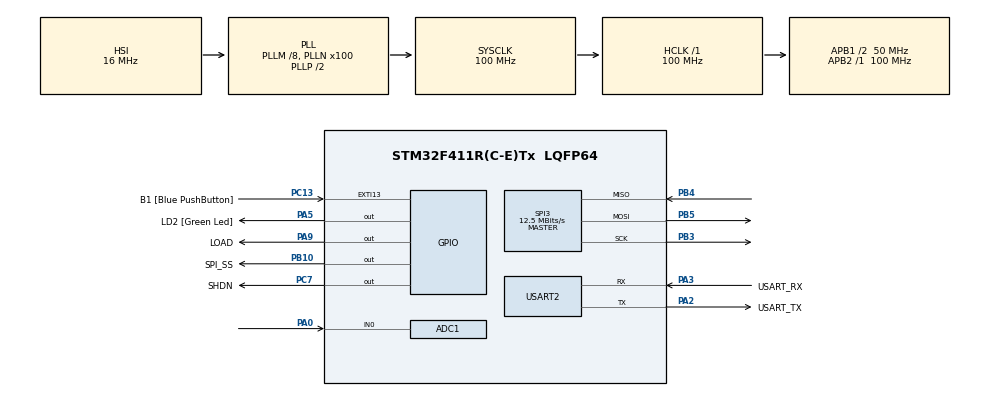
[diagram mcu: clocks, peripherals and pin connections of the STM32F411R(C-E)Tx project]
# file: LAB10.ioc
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ADC1.Channel-0\#ChannelRegularConversion=ADC_CHANNEL_0
ADC1.DMAContinuousRequests=ENABLE
ADC1.ExternalTrigConv=ADC_EXTERNALTRIGCONV_T3_TRGO
ADC1.NbrOfConversionFlag=1
ADC1.Rank-0\#ChannelRegularConversion=1
ADC1.SamplingTime-0\#ChannelRegularConversion=ADC_SAMPLETIME_3CYCLES
ADC1.ScanConvMode=ENABLE
ADC1.master=1
Dma.ADC1.0.Direction=DMA_PERIPH_TO_MEMORY
Dma.ADC1.0.FIFOMode=DMA_FIFOMODE_DISABLE
Dma.ADC1.0.Instance=DMA2_Stream0
Dma.ADC1.0.MemDataAlignment=DMA_MDATAALIGN_HALFWORD
Dma.ADC1.0.MemInc=DMA_MINC_ENABLE
Dma.ADC1.0.Mode=DMA_CIRCULAR
Dma.ADC1.0.PeriphDataAlignment=DMA_PDATAALIGN_HALFWORD
Dma.ADC1.0.PeriphInc=DMA_PINC_DISABLE
Dma.ADC1.0.Priority=DMA_PRIORITY_LOW
Dma.Request0=ADC1
Mcu.Family=STM32F4
Mcu.Name=STM32F411R(C-E)Tx
Mcu.Package=LQFP64
NVIC.ADC_IRQn=true\:0\:0\:false\:false\:true\:true\:true
NVIC.DMA2_Stream0_IRQn=true\:0\:0\:false\:false\:true\:false\:true
NVIC.PriorityGroup=NVIC_PRIORITYGROUP_0
NVIC.SPI3_IRQn=true\:0\:0\:false\:false\:true\:true\:true
NVIC.TIM1_TRG_COM_TIM11_IRQn=true\:0\:0\:false\:false\:true\:true\:true
NVIC.USART2_IRQn=true\:0\:0\:false\:false\:true\:true\:true
PA0-WKUP.Signal=ADCx_IN0
PA13.GPIO_Label=TMS
PA13.Mode=Serial_Wire
PA13.Signal=SYS_JTMS-SWDIO
PA14.GPIO_Label=TCK
PA14.Mode=Serial_Wire
PA14.Signal=SYS_JTCK-SWCLK
PA2.GPIO_Label=USART_TX
PA2.Mode=Asynchronous
PA2.Signal=USART2_TX
PA3.GPIO_Label=USART_RX
PA3.Mode=Asynchronous
PA3.Signal=USART2_RX
PA5.GPIO_Label=LD2 [Green Led]
PA5.Signal=GPIO_Output
PA9.GPIO_Label=LOAD
PA9.PinState=GPIO_PIN_SET
PA9.Signal=GPIO_Output
PB10.GPIO_Label=SPI_SS
PB10.PinState=GPIO_PIN_SET
PB10.Signal=GPIO_Output
PB3.Mode=Full_Duplex_Master
PB3.Signal=SPI3_SCK
PB4.Mode=Full_Duplex_Master
PB4.Signal=SPI3_MISO
PB5.Mode=Full_Duplex_Master
PB5.Signal=SPI3_MOSI
PC13-ANTI_TAMP.GPIO_Label=B1 [Blue PushButton]
PC13-ANTI_TAMP.GPIO_ModeDefaultEXTI=GPIO_MODE_IT_FALLING
PC13-ANTI_TAMP.Signal=GPXTI13
PC14-OSC32_IN.Mode=LSE-External-Oscillator
PC14-OSC32_IN.Signal=RCC_OSC32_IN
PC15-OSC32_OUT.Mode=LSE-External-Oscillator
PC15-OSC32_OUT.Signal=RCC_OSC32_OUT
PC7.GPIO_Label=SHDN
PC7.PinState=GPIO_PIN_SET
PC7.Signal=GPIO_Output
PH0\ -\ OSC_IN.Mode=HSE-External-Clock-Source
PH0\ -\ OSC_IN.Signal=RCC_OSC_IN
PH1\ -\ OSC_OUT.Mode=HSE-External-Clock-Source
PH1\ -\ OSC_OUT.Signal=RCC_OSC_OUT
ProjectManager.HeapSize=0x200
ProjectManager.StackSize=0x400
ProjectManager.TargetToolchain=STM32CubeIDE
RCC.48MHZClocksFreq_Value=50000000
RCC.AHBFreq_Value=100000000
RCC.APB1CLKDivider=RCC_HCLK_DIV2
RCC.APB1Freq_Value=50000000
RCC.APB1TimFreq_Value=100000000
RCC.APB2Freq_Value=100000000
RCC.APB2TimFreq_Value=100000000
RCC.CortexFreq_Value=100000000
RCC.FLatency-AdvancedSettings=FLASH_LATENCY_3
RCC.HCLKFreq_Value=100000000
RCC.HSE_VALUE=8000000
RCC.HSI_VALUE=16000000
RCC.PLLM=8
RCC.PLLN=100
RCC.SYSCLKFreq_VALUE=100000000
RCC.SYSCLKSource=RCC_SYSCLKSOURCE_PLLCLK
RCC.VCOOutputFreq_Value=200000000
SH.ADCx_IN0.0=ADC1_IN0,IN0
SPI3.BaudRatePrescaler=SPI_BAUDRATEPRESCALER_4
SPI3.CalculateBaudRate=12.5 MBits/s
SPI3.DataSize=SPI_DATASIZE_16BIT
SPI3.Direction=SPI_DIRECTION_2LINES
SPI3.Mode=SPI_MODE_MASTER
SPI3.VirtualType=VM_MASTER
TIM11.Prescaler=99
TIM3.Period=100
TIM3.Prescaler=99
TIM3.TIM_MasterOutputTrigger=TIM_TRGO_UPDATE
USART2.VirtualMode=VM_ASYNC
VP_TIM11_VS_ClockSourceINT.Mode=Enable_Timer
VP_TIM3_VS_ClockSourceINT.Mode=Internal
board=NUCLEO-F411RE

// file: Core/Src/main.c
/* USER CODE BEGIN Header */
/**
 ******************************************************************************
 * @file           : main.c
 * @brief          : Main program body
 ******************************************************************************
 * @attention
 *
 * <h2><center>&copy; Copyright (c) 2021 STMicroelectronics.
 * All rights reserved.</center></h2>
 *
 * This software component is licensed by ST under BSD 3-Clause license,
 * the "License"; You may not use this file except in compliance with the
 * License. You may obtain a copy of the License at:
 *                        opensource.org/licenses/BSD-3-Clause
 *
 ******************************************************************************
 */
/* USER CODE END Header */
#include "main.h"

/* USER CODE BEGIN Includes */
#include <stdio.h>
#include <string.h>
#include <math.h>
/* USER CODE END Includes */

ADC_HandleTypeDef hadc1;
DMA_HandleTypeDef hdma_adc1;

SPI_HandleTypeDef hspi3;

TIM_HandleTypeDef htim3;
TIM_HandleTypeDef htim11;

UART_HandleTypeDef huart2;

/* USER CODE BEGIN PV */
char TxDataBuffer[64] = { 0 };
char RxDataBuffer[64] = { 0 };

// State flow
uint16_t StateDisplay = 0;

uint16_t ADCin = 0;
uint64_t _micro = 0;
float dataOut = 0;
uint8_t DACConfig = 0b0011;

float Frequency = 1;
// sawtooth
float SawtoothHigh = 4096; // 2^12 max3.3
float SawtoothLow = 0; // offset
uint16_t Slope=0;

// Time in Second
float Second = 0;

// sine
float Sindata = 1;
float Offset = 2048;
float SineHigh = 4096;
float Sinelow = 0;

// square
float Square = 0;
uint16_t DutyCycle = 50;
float TimeOn = 0;
float SquareHigh = 4095;
float SquareLow = 0;

enum STATEDISPLAY{
	StateStart = 0,
	StateChoosewaveform = 1,
	StateSawtooth = 2,
	StateSine = 3,
	StateSquare = 4,
	StateContolSawtooth = 5,
	StateControlSine = 6,
	StateControlSquare = 7,
};
/* USER CODE END PV */

void SystemClock_Config(void);
static void MX_GPIO_Init(void);
static void MX_DMA_Init(void);
static void MX_USART2_UART_Init(void);
static void MX_ADC1_Init(void);
static void MX_SPI3_Init(void);
static void MX_TIM3_Init(void);
static void MX_TIM11_Init(void);
/* USER CODE BEGIN PFP */

void MCP4922SetOutput(uint8_t Config, uint16_t DACOutput);
uint64_t micros();
int16_t UARTRecieveIT();
/* USER CODE END PFP */

int main(void)
{

  /* MCU Configuration--------------------------------------------------------*/

  /* Reset of all peripherals, Initializes the Flash interface and the Systick. */
  HAL_Init();

  /* Configure the system clock */
  SystemClock_Config();

  /* Initialize all configured peripherals */
  MX_GPIO_Init();
  MX_DMA_Init();
  MX_USART2_UART_Init();
  MX_ADC1_Init();
  MX_SPI3_Init();
  MX_TIM3_Init();
  MX_TIM11_Init();
  /* USER CODE BEGIN 2 */
	HAL_TIM_Base_Start(&htim3);
	HAL_TIM_Base_Start_IT(&htim11);
	HAL_ADC_Start_DMA(&hadc1, (uint32_t*) &ADCin, 1);

	HAL_GPIO_WritePin(LOAD_GPIO_Port, LOAD_Pin, GPIO_PIN_RESET);
  /* USER CODE END 2 */

  /* Infinite loop */
  /* USER CODE BEGIN WHILE */
	while (1)
	{

		HAL_UART_Receive_IT(&huart2,  (uint8_t*)RxDataBuffer, 64);
		int16_t inputchar = UARTRecieveIT();
		if(inputchar!=-1)
		{
			sprintf(TxDataBuffer, "ReceivedChar:[%c]\r\n", inputchar);
			HAL_UART_Transmit(&huart2, (uint8_t*)TxDataBuffer, strlen(TxDataBuffer), 1000);
		}

		static uint64_t timestamp = 0;
		if (micros() - timestamp >= 1000) // timestamp
		{
			Second += 0.001;
			switch (StateDisplay) {
				case 0:
					sprintf(TxDataBuffer, "*********************\r\n");
					HAL_UART_Transmit(&huart2, (uint8_t*)TxDataBuffer, strlen(TxDataBuffer), 1000);
					sprintf(TxDataBuffer, "Choose the wave form\r\n1:sawtooth\r\n2:Sine\r\n3:Square\r\n");
					HAL_UART_Transmit(&huart2, (uint8_t*)TxDataBuffer, strlen(TxDataBuffer), 1000);
					StateDisplay = 1;
					break;
				case 1:
					if (inputchar != -1) {
						if (inputchar == '1') {
							sprintf(TxDataBuffer, "Sawtooth\r\n");
							HAL_UART_Transmit(&huart2, (uint8_t*)TxDataBuffer, strlen(TxDataBuffer), 1000);
							StateDisplay = 2;
						}
						else if(inputchar == '2'){
							sprintf(TxDataBuffer, "Sine wave\r\n");
							HAL_UART_Transmit(&huart2, (uint8_t*)TxDataBuffer, strlen(TxDataBuffer), 1000);
							StateDisplay = 3;
						}
						else if(inputchar == '3'){
							sprintf(TxDataBuffer, "Square wave\r\n");
							HAL_UART_Transmit(&huart2, (uint8_t*)TxDataBuffer, strlen(TxDataBuffer), 1000);
							StateDisplay = 4;
						}
					}
					break;
				case 2:
					sprintf(TxDataBuffer, "[+] add max volt\r\n[-] minus max volt\r\n[s] change slope\r\n");
					HAL_UART_Transmit(&huart2, (uint8_t*)TxDataBuffer, strlen(TxDataBuffer), 1000);
					sprintf(TxDataBuffer, "[a] increase min volt\r\n[d] decrease min volt\r\n");
					HAL_UART_Transmit(&huart2, (uint8_t*)TxDataBuffer, strlen(TxDataBuffer), 1000);
					sprintf(TxDataBuffer, "[q] increase frequency\r\n[e] decrease frequency\r\n");
					HAL_UART_Transmit(&huart2, (uint8_t*)TxDataBuffer, strlen(TxDataBuffer), 1000);
					sprintf(TxDataBuffer, "[x] Back to main menu frequency\r\n");
					HAL_UART_Transmit(&huart2, (uint8_t*)TxDataBuffer, strlen(TxDataBuffer), 1000);
					StateDisplay = 5;
					break;
				case 3:
					sprintf(TxDataBuffer, "[+] add max volt\r\n[-] minus max volt\r\n");
					HAL_UART_Transmit(&huart2, (uint8_t*)TxDataBuffer, strlen(TxDataBuffer), 1000);
					sprintf(TxDataBuffer, "[a] increase min volt\r\n[d] decrease min volt\r\n");
					HAL_UART_Transmit(&huart2, (uint8_t*)TxDataBuffer, strlen(TxDataBuffer), 1000);
					sprintf(TxDataBuffer, "[q] increase frequency\r\n[e] decrease frequency\r\n");
					HAL_UART_Transmit(&huart2, (uint8_t*)TxDataBuffer, strlen(TxDataBuffer), 1000);
					sprintf(TxDataBuffer, "[x] Back to main menu frequency\r\n");
					HAL_UART_Transmit(&huart2, (uint8_t*)TxDataBuffer, strlen(TxDataBuffer), 1000);
					StateDisplay = 6;
					break;
				case 4:
					sprintf(TxDataBuffer, "[+] add max volt\r\n[-] minus max volt\r\n");
					HAL_UART_Transmit(&huart2, (uint8_t*)TxDataBuffer, strlen(TxDataBuffer), 1000);
					sprintf(TxDataBuffer, "[a] increase min volt\r\n[d] decrease min volt\r\n");
					HAL_UART_Transmit(&huart2, (uint8_t*)TxDataBuffer, strlen(TxDataBuffer), 1000);
					sprintf(TxDataBuffer, "[q] increase frequency\r\n[e] decrease frequency\r\n");
					HAL_UART_Transmit(&huart2, (uint8_t*)TxDataBuffer, strlen(TxDataBuffer), 1000);
					sprintf(TxDataBuffer, "[z] increase Duty cycle\r\n[c] decrease Duty cycle\r\n");
					HAL_UART_Transmit(&huart2, (uint8_t*)TxDataBuffer, strlen(TxDataBuffer), 1000);
					sprintf(TxDataBuffer, "[x] Back to main menu frequency\r\n");
					HAL_UART_Transmit(&huart2, (uint8_t*)TxDataBuffer, strlen(TxDataBuffer), 1000);
					StateDisplay = 7;
					break;
				case 5: // Sawtooth
					if (Second >= 1/Frequency){
						Second = 0;
					}
					else {
						if (Slope==0){
							dataOut = ((SawtoothHigh-SawtoothLow)*Second*Frequency)+SawtoothLow;
						}
						else if(Slope == 1){
							dataOut = ((SawtoothLow-SawtoothHigh)*Second*Frequency)+SawtoothHigh;
						}
					}

					if (inputchar != -1){
						if(inputchar == 'x'){
							StateDisplay = 0;
						}
						if (inputchar == '-' && SawtoothHigh >= SawtoothLow+50 ){
							SawtoothHigh -= 124.12;
							float VoltHigh = (SawtoothHigh*3.3)/4096;
							sprintf(TxDataBuffer, "V HIGH = %.1f \r\n",VoltHigh);
							HAL_UART_Transmit(&huart2, (uint8_t*)TxDataBuffer, strlen(TxDataBuffer), 1000);
							}
						if (inputchar == '+' && SawtoothHigh <= 3971 && SawtoothHigh+50 >= SawtoothLow){
							SawtoothHigh += 124.12;
							float VoltHigh = (SawtoothHigh*3.3)/4096;
							sprintf(TxDataBuffer, "V HIGH = %.1f \r\n",VoltHigh);
							HAL_UART_Transmit(&huart2, (uint8_t*)TxDataBuffer, strlen(TxDataBuffer), 1000);
							}
						if (inputchar == 'a' && SawtoothHigh >= SawtoothLow+50){
							SawtoothLow += 124.12;
							float VoltHigh = (SawtoothLow*3.3)/4096;
							sprintf(TxDataBuffer, "V LOW = %.1f \r\n",VoltHigh);
							HAL_UART_Transmit(&huart2, (uint8_t*)TxDataBuffer, strlen(TxDataBuffer), 1000);
							}
						if (inputchar == 'd' && SawtoothHigh+50 > SawtoothLow && SawtoothLow >= 50){
							SawtoothLow -= 124.12;
							float VoltHigh = (SawtoothLow*3.3)/4096;
							sprintf(TxDataBuffer, "V LOW = %.1f \r\n",VoltHigh);
							HAL_UART_Transmit(&huart2, (uint8_t*)TxDataBuffer, strlen(TxDataBuffer), 1000);
							}
						if (inputchar == 'q' && Frequency <= 10){
							Frequency += 0.1;
							sprintf(TxDataBuffer, "frequency = %.1f \r\n",Frequency);
							HAL_UART_Transmit(&huart2, (uint8_t*)TxDataBuffer, strlen(TxDataBuffer), 1000);
							}
						if (inputchar == 'e' && Frequency >= 0){
							Frequency -= 0.1;
							sprintf(TxDataBuffer, "frequency = %.1f \r\n",Frequency);
							HAL_UART_Transmit(&huart2, (uint8_t*)TxDataBuffer, strlen(TxDataBuffer), 1000);
							}
						if (inputchar == 's'&& Slope==0){
							Slope = 1;
							sprintf(TxDataBuffer, "Slope Down \r\n");
							HAL_UART_Transmit(&huart2, (uint8_t*)TxDataBuffer, strlen(TxDataBuffer), 1000);
							}
						else if (inputchar == 's'&& Slope!=0){
							Slope = 0;
							sprintf(TxDataBuffer, "Slope Up \r\n");
							HAL_UART_Transmit(&huart2, (uint8_t*)TxDataBuffer, strlen(TxDataBuffer), 1000);
						}
					}
					break;
				case 6: // Sine wave
					Sindata = 2*M_PI*Frequency*Second;
					dataOut = (SineHigh-Sinelow)/2*sinf(Sindata)+(SineHigh+Sinelow)/2;
					if(inputchar != -1){
						if(inputchar == 'x'){
							StateDisplay = 0;
						}
						if(inputchar=='+' && SineHigh <= 3971 && SineHigh+50 >= Sinelow){
							SineHigh +=124.12;
							float VoltHigh = (SineHigh*3.3)/4096;
							sprintf(TxDataBuffer, "V HIGH = %.1f \r\n",VoltHigh);
							HAL_UART_Transmit(&huart2, (uint8_t*)TxDataBuffer, strlen(TxDataBuffer), 1000);
						}
						if(inputchar=='-' && SineHigh >= Sinelow+50){
							SineHigh -=124.12;
							float VoltHigh = (SineHigh*3.3)/4096;
							sprintf(TxDataBuffer, "V HIGH = %.1f \r\n",VoltHigh);
							HAL_UART_Transmit(&huart2, (uint8_t*)TxDataBuffer, strlen(TxDataBuffer), 1000);
							}
						if (inputchar == 'a' && SineHigh >= Sinelow+50){
							Sinelow += 124.12;
							float VoltHigh = (Sinelow*3.3)/4096;
							sprintf(TxDataBuffer, "V LOW = %.1f \r\n",VoltHigh);
							HAL_UART_Transmit(&huart2, (uint8_t*)TxDataBuffer, strlen(TxDataBuffer), 1000);
							}
						if (inputchar == 'd' && SineHigh+50 > Sinelow && Sinelow >= 50){
							Sinelow -= 124.12;
							float VoltHigh = (Sinelow*3.3)/4096;
							sprintf(TxDataBuffer, "V LOW = %.1f \r\n",VoltHigh);
							HAL_UART_Transmit(&huart2, (uint8_t*)TxDataBuffer, strlen(TxDataBuffer), 1000);
							}
						if (inputchar == 'q' && Frequency <= 10){
							Frequency += 0.1;
							sprintf(TxDataBuffer, "frequency = %.1f \r\n",Frequency);
							HAL_UART_Transmit(&huart2, (uint8_t*)TxDataBuffer, strlen(TxDataBuffer), 1000);
							}
						if (inputchar == 'e' && Frequency >= 0){
							Frequency -= 0.1;
							sprintf(TxDataBuffer, "frequency = %.1f \r\n",Frequency);
							HAL_UART_Transmit(&huart2, (uint8_t*)TxDataBuffer, strlen(TxDataBuffer), 1000);
							}
						}
					break;
				case 7: // Square Wave
					TimeOn = (1/Frequency)*DutyCycle/100;
					if(Second <= TimeOn){
						dataOut = SquareHigh;
					}
					else if(Second > TimeOn && Second <= 1/Frequency){
						dataOut = SquareLow;
					}
					else {
						Second = 0;
					}
					if(inputchar != -1){
						if(inputchar == 'x'){
							StateDisplay = 0;
						}
						if(inputchar=='+' && SquareHigh <= 3980 && SquareHigh+50 >= SquareLow){
							SquareHigh +=124.12;
							float VoltHigh = (SquareHigh*3.3)/4096;
							sprintf(TxDataBuffer, "V HIGH = %.1f \r\n",VoltHigh);
							HAL_UART_Transmit(&huart2, (uint8_t*)TxDataBuffer, strlen(TxDataBuffer), 1000);
						}
						if(inputchar=='-' && SquareHigh >= SquareLow+50){
							SquareHigh -=124.12;
							float VoltHigh = (SquareHigh*3.3)/4096;
							sprintf(TxDataBuffer, "V HIGH = %.1f \r\n",VoltHigh);
							HAL_UART_Transmit(&huart2, (uint8_t*)TxDataBuffer, strlen(TxDataBuffer), 1000);
						}
						if (inputchar == 'a' && SquareHigh >= SquareLow+50){
							SquareLow += 124.12;
							float VoltHigh = (SquareLow*3.3)/4096;
							sprintf(TxDataBuffer, "V LOW = %.1f \r\n",VoltHigh);
							HAL_UART_Transmit(&huart2, (uint8_t*)TxDataBuffer, strlen(TxDataBuffer), 1000);
						}
						if (inputchar == 'd' && SquareHigh+50 > SquareLow && SquareLow >= 50){
							SquareLow -= 124.12;
							float VoltHigh = (SquareLow*3.3)/4096;
							sprintf(TxDataBuffer, "V LOW = %.1f \r\n",VoltHigh);
							HAL_UART_Transmit(&huart2, (uint8_t*)TxDataBuffer, strlen(TxDataBuffer), 1000);
						}
						if (inputchar == 'q' && Frequency <= 10){
							Frequency += 0.1;
							sprintf(TxDataBuffer, "frequency = %.1f \r\n",Frequency);
							HAL_UART_Transmit(&huart2, (uint8_t*)TxDataBuffer, strlen(TxDataBuffer), 1000);
						}
						if (inputchar == 'e' && Frequency >= 0){
							Frequency -= 0.1;
							sprintf(TxDataBuffer, "frequency = %.1f \r\n",Frequency);
							HAL_UART_Transmit(&huart2, (uint8_t*)TxDataBuffer, strlen(TxDataBuffer), 1000);
						}
						if (inputchar == 'z' && DutyCycle < 100){
							DutyCycle += 10;
							sprintf(TxDataBuffer, "Duty cycle = %d \r\n",DutyCycle);
							HAL_UART_Transmit(&huart2, (uint8_t*)TxDataBuffer, strlen(TxDataBuffer), 1000);
						}
						if (inputchar == 'c' && DutyCycle > 0){
							DutyCycle -= 10;
							sprintf(TxDataBuffer, "Duty cycle = %d \r\n",DutyCycle);
							HAL_UART_Transmit(&huart2, (uint8_t*)TxDataBuffer, strlen(TxDataBuffer), 1000);
						}
					}
					break;

				default:
					break;
			}
			timestamp = micros();

			if (hspi3.State == HAL_SPI_STATE_READY && HAL_GPIO_ReadPin(SPI_SS_GPIO_Port, SPI_SS_Pin) == GPIO_PIN_SET)
			{
				MCP4922SetOutput(DACConfig, dataOut);
			}
		}
    /* USER CODE END WHILE */

	}
}

void SystemClock_Config(void)
{
  RCC_OscInitTypeDef RCC_OscInitStruct = {0};
  RCC_ClkInitTypeDef RCC_ClkInitStruct = {0};

  /** Configure the main internal regulator output voltage
  */
  __HAL_RCC_PWR_CLK_ENABLE();
  __HAL_PWR_VOLTAGESCALING_CONFIG(PWR_REGULATOR_VOLTAGE_SCALE1);
  /** Initializes the RCC Oscillators according to the specified parameters
  * in the RCC_OscInitTypeDef structure.
  */
  RCC_OscInitStruct.OscillatorType = RCC_OSCILLATORTYPE_HSI;
  RCC_OscInitStruct.HSIState = RCC_HSI_ON;
  RCC_OscInitStruct.HSICalibrationValue = RCC_HSICALIBRATION_DEFAULT;
  RCC_OscInitStruct.PLL.PLLState = RCC_PLL_ON;
  RCC_OscInitStruct.PLL.PLLSource = RCC_PLLSOURCE_HSI;
  RCC_OscInitStruct.PLL.PLLM = 8;
  RCC_OscInitStruct.PLL.PLLN = 100;
  RCC_OscInitStruct.PLL.PLLP = RCC_PLLP_DIV2;
  RCC_OscInitStruct.PLL.PLLQ = 4;
  if (HAL_RCC_OscConfig(&RCC_OscInitStruct) != HAL_OK)
  {
    Error_Handler();
  }
  /** Initializes the CPU, AHB and APB buses clocks
  */
  RCC_ClkInitStruct.ClockType = RCC_CLOCKTYPE_HCLK|RCC_CLOCKTYPE_SYSCLK
                              |RCC_CLOCKTYPE_PCLK1|RCC_CLOCKTYPE_PCLK2;
  RCC_ClkInitStruct.SYSCLKSource = RCC_SYSCLKSOURCE_PLLCLK;
  RCC_ClkInitStruct.AHBCLKDivider = RCC_SYSCLK_DIV1;
  RCC_ClkInitStruct.APB1CLKDivider = RCC_HCLK_DIV2;
  RCC_ClkInitStruct.APB2CLKDivider = RCC_HCLK_DIV1;

  if (HAL_RCC_ClockConfig(&RCC_ClkInitStruct, FLASH_LATENCY_3) != HAL_OK)
  {
    Error_Handler();
  }
}

static void MX_ADC1_Init(void)
{

  ADC_ChannelConfTypeDef sConfig = {0};

  /** Configure the global features of the ADC (Clock, Resolution, Data Alignment and number of conversion)
  */
  hadc1.Instance = ADC1;
  hadc1.Init.ClockPrescaler = ADC_CLOCK_SYNC_PCLK_DIV4;
  hadc1.Init.Resolution = ADC_RESOLUTION_12B;
  hadc1.Init.ScanConvMode = ENABLE;
  hadc1.Init.ContinuousConvMode = DISABLE;
  hadc1.Init.DiscontinuousConvMode = DISABLE;
  hadc1.Init.ExternalTrigConvEdge = ADC_EXTERNALTRIGCONVEDGE_RISING;
  hadc1.Init.ExternalTrigConv = ADC_EXTERNALTRIGCONV_T3_TRGO;
  hadc1.Init.DataAlign = ADC_DATAALIGN_RIGHT;
  hadc1.Init.NbrOfConversion = 1;
  hadc1.Init.DMAContinuousRequests = ENABLE;
  hadc1.Init.EOCSelection = ADC_EOC_SINGLE_CONV;
  if (HAL_ADC_Init(&hadc1) != HAL_OK)
  {
    Error_Handler();
  }
  /** Configure for the selected ADC regular channel its corresponding rank in the sequencer and its sample time.
  */
  sConfig.Channel = ADC_CHANNEL_0;
  sConfig.Rank = 1;
  sConfig.SamplingTime = ADC_SAMPLETIME_3CYCLES;
  if (HAL_ADC_ConfigChannel(&hadc1, &sConfig) != HAL_OK)
  {
    Error_Handler();
  }

}

static void MX_SPI3_Init(void)
{

  /* SPI3 parameter configuration*/
  hspi3.Instance = SPI3;
  hspi3.Init.Mode = SPI_MODE_MASTER;
  hspi3.Init.Direction = SPI_DIRECTION_2LINES;
  hspi3.Init.DataSize = SPI_DATASIZE_16BIT;
  hspi3.Init.CLKPolarity = SPI_POLARITY_LOW;
  hspi3.Init.CLKPhase = SPI_PHASE_1EDGE;
  hspi3.Init.NSS = SPI_NSS_SOFT;
  hspi3.Init.BaudRatePrescaler = SPI_BAUDRATEPRESCALER_4;
  hspi3.Init.FirstBit = SPI_FIRSTBIT_MSB;
  hspi3.Init.TIMode = SPI_TIMODE_DISABLE;
  hspi3.Init.CRCCalculation = SPI_CRCCALCULATION_DISABLE;
  hspi3.Init.CRCPolynomial = 10;
  if (HAL_SPI_Init(&hspi3) != HAL_OK)
  {
    Error_Handler();
  }

}

static void MX_TIM3_Init(void)
{

  TIM_ClockConfigTypeDef sClockSourceConfig = {0};
  TIM_MasterConfigTypeDef sMasterConfig = {0};

  htim3.Instance = TIM3;
  htim3.Init.Prescaler = 99;
  htim3.Init.CounterMode = TIM_COUNTERMODE_UP;
  htim3.Init.Period = 100;
  htim3.Init.ClockDivision = TIM_CLOCKDIVISION_DIV1;
  htim3.Init.AutoReloadPreload = TIM_AUTORELOAD_PRELOAD_DISABLE;
  if (HAL_TIM_Base_Init(&htim3) != HAL_OK)
  {
    Error_Handler();
  }
  sClockSourceConfig.ClockSource = TIM_CLOCKSOURCE_INTERNAL;
  if (HAL_TIM_ConfigClockSource(&htim3, &sClockSourceConfig) != HAL_OK)
  {
    Error_Handler();
  }
  sMasterConfig.MasterOutputTrigger = TIM_TRGO_UPDATE;
  sMasterConfig.MasterSlaveMode = TIM_MASTERSLAVEMODE_DISABLE;
  if (HAL_TIMEx_MasterConfigSynchronization(&htim3, &sMasterConfig) != HAL_OK)
  {
    Error_Handler();
  }

}

static void MX_TIM11_Init(void)
{

  htim11.Instance = TIM11;
  htim11.Init.Prescaler = 99;
  htim11.Init.CounterMode = TIM_COUNTERMODE_UP;
  htim11.Init.Period = 65535;
  htim11.Init.ClockDivision = TIM_CLOCKDIVISION_DIV1;
  htim11.Init.AutoReloadPreload = TIM_AUTORELOAD_PRELOAD_DISABLE;
  if (HAL_TIM_Base_Init(&htim11) != HAL_OK)
  {
    Error_Handler();
  }

}

static void MX_USART2_UART_Init(void)
{

  huart2.Instance = USART2;
  huart2.Init.BaudRate = 115200;
  huart2.Init.WordLength = UART_WORDLENGTH_8B;
  huart2.Init.StopBits = UART_STOPBITS_1;
  huart2.Init.Parity = UART_PARITY_NONE;
  huart2.Init.Mode = UART_MODE_TX_RX;
  huart2.Init.HwFlowCtl = UART_HWCONTROL_NONE;
  huart2.Init.OverSampling = UART_OVERSAMPLING_16;
  if (HAL_UART_Init(&huart2) != HAL_OK)
  {
    Error_Handler();
  }

}

static void MX_DMA_Init(void)
{

  /* DMA controller clock enable */
  __HAL_RCC_DMA2_CLK_ENABLE();

  /* DMA interrupt init */
  /* DMA2_Stream0_IRQn interrupt configuration */
  HAL_NVIC_SetPriority(DMA2_Stream0_IRQn, 0, 0);
  HAL_NVIC_EnableIRQ(DMA2_Stream0_IRQn);

}

static void MX_GPIO_Init(void)
{
  GPIO_InitTypeDef GPIO_InitStruct = {0};

  /* GPIO Ports Clock Enable */
  __HAL_RCC_GPIOC_CLK_ENABLE();
  __HAL_RCC_GPIOH_CLK_ENABLE();
  __HAL_RCC_GPIOA_CLK_ENABLE();
  __HAL_RCC_GPIOB_CLK_ENABLE();

  /*Configure GPIO pin Output Level */
  HAL_GPIO_WritePin(LD2_GPIO_Port, LD2_Pin, GPIO_PIN_RESET);

  /*Configure GPIO pin Output Level */
  HAL_GPIO_WritePin(SPI_SS_GPIO_Port, SPI_SS_Pin, GPIO_PIN_SET);

  /*Configure GPIO pin Output Level */
  HAL_GPIO_WritePin(SHDN_GPIO_Port, SHDN_Pin, GPIO_PIN_SET);

  /*Configure GPIO pin Output Level */
  HAL_GPIO_WritePin(LOAD_GPIO_Port, LOAD_Pin, GPIO_PIN_SET);

  /*Configure GPIO pin : B1_Pin */
  GPIO_InitStruct.Pin = B1_Pin;
  GPIO_InitStruct.Mode = GPIO_MODE_IT_FALLING;
  GPIO_InitStruct.Pull = GPIO_NOPULL;
  HAL_GPIO_Init(B1_GPIO_Port, &GPIO_InitStruct);

  /*Configure GPIO pins : LD2_Pin LOAD_Pin */
  GPIO_InitStruct.Pin = LD2_Pin|LOAD_Pin;
  GPIO_InitStruct.Mode = GPIO_MODE_OUTPUT_PP;
  GPIO_InitStruct.Pull = GPIO_NOPULL;
  GPIO_InitStruct.Speed = GPIO_SPEED_FREQ_LOW;
  HAL_GPIO_Init(GPIOA, &GPIO_InitStruct);

  /*Configure GPIO pin : SPI_SS_Pin */
  GPIO_InitStruct.Pin = SPI_SS_Pin;
  GPIO_InitStruct.Mode = GPIO_MODE_OUTPUT_PP;
  GPIO_InitStruct.Pull = GPIO_NOPULL;
  GPIO_InitStruct.Speed = GPIO_SPEED_FREQ_LOW;
  HAL_GPIO_Init(SPI_SS_GPIO_Port, &GPIO_InitStruct);

  /*Configure GPIO pin : SHDN_Pin */
  GPIO_InitStruct.Pin = SHDN_Pin;
  GPIO_InitStruct.Mode = GPIO_MODE_OUTPUT_PP;
  GPIO_InitStruct.Pull = GPIO_NOPULL;
  GPIO_InitStruct.Speed = GPIO_SPEED_FREQ_LOW;
  HAL_GPIO_Init(SHDN_GPIO_Port, &GPIO_InitStruct);

}

/* USER CODE BEGIN 4 */
void MCP4922SetOutput(uint8_t Config, uint16_t DACOutput)
{
	uint32_t OutputPacket = (DACOutput & 0x0fff) | ((Config & 0xf) << 12);
	HAL_GPIO_WritePin(SPI_SS_GPIO_Port, SPI_SS_Pin, GPIO_PIN_RESET);
	HAL_SPI_Transmit_IT(&hspi3, &OutputPacket, 1);
}

void HAL_SPI_TxCpltCallback(SPI_HandleTypeDef *hspi)
{
	if (hspi == &hspi3)
	{
		HAL_GPIO_WritePin(SPI_SS_GPIO_Port, SPI_SS_Pin, GPIO_PIN_SET);
	}
}

void HAL_TIM_PeriodElapsedCallback(TIM_HandleTypeDef *htim)
{
	if (htim == &htim11)
	{
		_micro += 65535;
	}
}

inline uint64_t micros()
{
	return htim11.Instance->CNT + _micro;
}

int16_t UARTRecieveIT()
{
	static uint32_t dataPos =0;
	int16_t data=-1;
	if(huart2.RxXferSize - huart2.RxXferCount!=dataPos)
	{
		data=RxDataBuffer[dataPos];
		dataPos= (dataPos+1)%huart2.RxXferSize;
	}
	return data;
}

void HAL_UART_RxCpltCallback(UART_HandleTypeDef *huart)
{
	sprintf(TxDataBuffer, "Received:[%s]\r\n", RxDataBuffer);
	HAL_UART_Transmit_IT(&huart2, (uint8_t*)TxDataBuffer, strlen(TxDataBuffer));
}
/* USER CODE END 4 */

void Error_Handler(void)
{
	__disable_irq();
	while (1)
	{
	}
}

/************************ (C) COPYRIGHT STMicroelectronics *****END OF FILE****/
